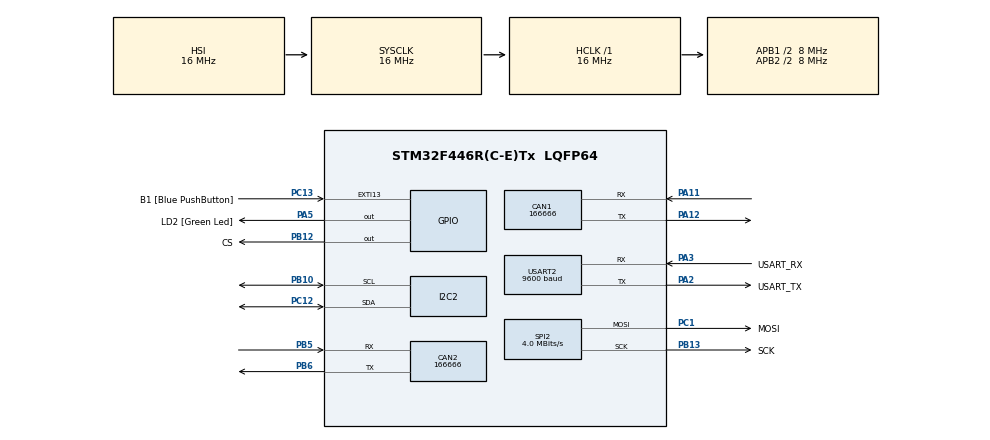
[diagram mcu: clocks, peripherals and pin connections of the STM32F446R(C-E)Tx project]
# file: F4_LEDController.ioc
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CAN1.CalculateBaudRate=166666
CAN1.CalculateTimeBit=6000
CAN1.CalculateTimeQuantum=2000.0
CAN2.CalculateBaudRate=166666
CAN2.CalculateTimeBit=6000
CAN2.CalculateTimeQuantum=2000.0
Dma.Request0=USART2_RX
Dma.USART2_RX.0.Direction=DMA_PERIPH_TO_MEMORY
Dma.USART2_RX.0.FIFOMode=DMA_FIFOMODE_DISABLE
Dma.USART2_RX.0.Instance=DMA1_Stream5
Dma.USART2_RX.0.MemDataAlignment=DMA_MDATAALIGN_BYTE
Dma.USART2_RX.0.MemInc=DMA_MINC_ENABLE
Dma.USART2_RX.0.Mode=DMA_NORMAL
Dma.USART2_RX.0.PeriphDataAlignment=DMA_PDATAALIGN_BYTE
Dma.USART2_RX.0.PeriphInc=DMA_PINC_DISABLE
Dma.USART2_RX.0.Priority=DMA_PRIORITY_LOW
I2C2.I2C_Mode=I2C_Fast
Mcu.Family=STM32F4
Mcu.Name=STM32F446R(C-E)Tx
Mcu.Package=LQFP64
NVIC.DMA1_Stream5_IRQn=true\:0\:0\:false\:false\:true\:false\:true
NVIC.EXTI15_10_IRQn=true\:0\:0\:false\:false\:true\:true\:true
NVIC.PriorityGroup=NVIC_PRIORITYGROUP_4
NVIC.SPI2_IRQn=true\:0\:0\:false\:false\:true\:true\:true
NVIC.USART2_IRQn=true\:0\:0\:false\:false\:true\:true\:true
PA11.Mode=CAN_Activate
PA11.Signal=CAN1_RX
PA12.Mode=CAN_Activate
PA12.Signal=CAN1_TX
PA13.GPIO_Label=TMS
PA13.Mode=JTAG_4_pins
PA13.Signal=SYS_JTMS-SWDIO
PA14.GPIO_Label=TCK
PA14.Mode=JTAG_4_pins
PA14.Signal=SYS_JTCK-SWCLK
PA15.Mode=JTAG_4_pins
PA15.Signal=SYS_JTDI
PA2.GPIO_Label=USART_TX
PA2.Mode=Asynchronous
PA2.Signal=USART2_TX
PA3.GPIO_Label=USART_RX
PA3.Mode=Asynchronous
PA3.Signal=USART2_RX
PA5.GPIO_Label=LD2 [Green Led]
PA5.GPIO_Speed=GPIO_SPEED_FREQ_MEDIUM
PA5.Signal=GPIO_Output
PB10.Mode=I2C
PB10.Signal=I2C2_SCL
PB12.GPIO_Label=CS
PB12.GPIO_Speed=GPIO_SPEED_FREQ_VERY_HIGH
PB12.PinState=GPIO_PIN_SET
PB12.Signal=GPIO_Output
PB13.GPIO_Label=SCK
PB13.GPIO_PuPd=GPIO_NOPULL
PB13.Mode=TX_Only_Simplex_Unidirect_Master
PB13.Signal=SPI2_SCK
PB3.GPIO_Label=SWO
PB3.Mode=JTAG_4_pins
PB3.Signal=SYS_JTDO-SWO
PB5.Mode=CAN_Activate
PB5.Signal=CAN2_RX
PB6.Mode=CAN_Activate
PB6.Signal=CAN2_TX
PC1.GPIO_Label=MOSI
PC1.GPIO_PuPd=GPIO_NOPULL
PC1.Mode=TX_Only_Simplex_Unidirect_Master
PC1.Signal=SPI2_MOSI
PC12.Mode=I2C
PC12.Signal=I2C2_SDA
PC13.GPIO_Label=B1 [Blue PushButton]
PC13.GPIO_ModeDefaultEXTI=GPIO_MODE_IT_FALLING
PC13.Signal=GPXTI13
PC14-OSC32_IN.Mode=LSE-External-Oscillator
PC14-OSC32_IN.Signal=RCC_OSC32_IN
PC15-OSC32_OUT.Mode=LSE-External-Oscillator
PC15-OSC32_OUT.Signal=RCC_OSC32_OUT
PH0-OSC_IN.Signal=RCC_OSC_IN
PH1-OSC_OUT.Signal=RCC_OSC_OUT
ProjectManager.HeapSize=0x200
ProjectManager.StackSize=0x400
ProjectManager.TargetToolchain=STM32CubeIDE
RCC.48MHZClocksFreq_Value=84000000
RCC.AHBFreq_Value=16000000
RCC.APB1CLKDivider=RCC_HCLK_DIV2
RCC.APB1Freq_Value=8000000
RCC.APB1TimFreq_Value=16000000
RCC.APB2CLKDivider=RCC_HCLK_DIV2
RCC.APB2Freq_Value=8000000
RCC.APB2TimFreq_Value=16000000
RCC.CortexFreq_Value=16000000
RCC.FLatency-AdvancedSettings=FLASH_LATENCY_0
RCC.HCLKFreq_Value=16000000
RCC.HSE_VALUE=8000000
RCC.HSI_VALUE=16000000
RCC.PLLM=4
RCC.PLLN=64
RCC.SYSCLKFreq_VALUE=16000000
RCC.USBFreq_Value=128000000
RCC.VCOOutputFreq_Value=256000000
SPI2.BaudRatePrescaler=SPI_BAUDRATEPRESCALER_2
SPI2.CLKPolarity=SPI_POLARITY_LOW
SPI2.CRCCalculation=SPI_CRCCALCULATION_DISABLE
SPI2.CalculateBaudRate=4.0 MBits/s
SPI2.Direction=SPI_DIRECTION_2LINES
SPI2.Mode=SPI_MODE_MASTER
SPI2.VirtualType=VM_MASTER
TIM14.AutoReloadPreload=TIM_AUTORELOAD_PRELOAD_DISABLE
TIM14.Period=65535-1
TIM14.Prescaler=1600-1
USART2.BaudRate=9600
USART2.VirtualMode=VM_ASYNC
VP_TIM14_VS_ClockSourceINT.Mode=Enable_Timer
board=NUCLEO-F446RE

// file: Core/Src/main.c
/* USER CODE BEGIN Header */
/**
 ******************************************************************************
 * @file           : main.c
 * @brief          : Main program body
 ******************************************************************************
 * @attention
 *
 * Copyright (c) 2022 STMicroelectronics.
 * All rights reserved.
 *
 * This software is licensed under terms that can be found in the LICENSE file
 * in the root directory of this software component.
 * If no LICENSE file comes with this software, it is provided AS-IS.
 *
 ******************************************************************************
 */
/* USER CODE END Header */
#include "main.h"

/* USER CODE BEGIN Includes */
#include "stdbool.h"
#include "stdio.h"
#include "MyDelay.h"
#include "IS31FL3743B.h"
/* USER CODE END Includes */

CAN_HandleTypeDef hcan1;
CAN_HandleTypeDef hcan2;

I2C_HandleTypeDef hi2c2;

SPI_HandleTypeDef hspi2;

TIM_HandleTypeDef htim14;

UART_HandleTypeDef huart2;
DMA_HandleTypeDef hdma_usart2_rx;

/* USER CODE BEGIN PV */
int *temp, baseADDR = 0;
/* USER CODE END PV */

void SystemClock_Config(void);
static void MX_GPIO_Init(void);
static void MX_USART2_UART_Init(void);
static void MX_DMA_Init(void);
static void MX_TIM14_Init(void);
static void MX_SPI2_Init(void);
static void MX_I2C2_Init(void);
static void MX_CAN1_Init(void);
static void MX_CAN2_Init(void);

int main(void) {

	/* MCU Configuration--------------------------------------------------------*/

	/* Reset of all peripherals, Initializes the Flash interface and the Systick. */
	HAL_Init();

	/* Configure the system clock */
	SystemClock_Config();

	/* Initialize all configured peripherals */
	MX_GPIO_Init();
	MX_USART2_UART_Init();
	MX_DMA_Init();
	MX_TIM14_Init();
	MX_SPI2_Init();
	MX_I2C2_Init();
	MX_CAN1_Init();
	MX_CAN2_Init();
	/* USER CODE BEGIN 2 */

//	void LedBlink(uint8_t count);
//
//	IS31FL3743B_Dumby();
//	IS31FL3743B_Reset();
//	IS31FL3743B_init();

//HAL_UART_Transmit_IT(&huart2, IS31FL3743B_TempStat(), 1);

	/* USER CODE END 2 */

	/* Infinite loop */
	while (1) {

	}
}

void SystemClock_Config(void) {
	RCC_OscInitTypeDef RCC_OscInitStruct = { 0 };
	RCC_ClkInitTypeDef RCC_ClkInitStruct = { 0 };

	/** Configure the main internal regulator output voltage
	 */
	__HAL_RCC_PWR_CLK_ENABLE();
	__HAL_PWR_VOLTAGESCALING_CONFIG(PWR_REGULATOR_VOLTAGE_SCALE3);
	/** Initializes the RCC Oscillators according to the specified parameters
	 * in the RCC_OscInitTypeDef structure.
	 */
	RCC_OscInitStruct.OscillatorType = RCC_OSCILLATORTYPE_HSI;
	RCC_OscInitStruct.HSIState = RCC_HSI_ON;
	RCC_OscInitStruct.HSICalibrationValue = RCC_HSICALIBRATION_DEFAULT;
	RCC_OscInitStruct.PLL.PLLState = RCC_PLL_NONE;
	if (HAL_RCC_OscConfig(&RCC_OscInitStruct) != HAL_OK) {
		Error_Handler();
	}
	/** Initializes the CPU, AHB and APB buses clocks
	 */
	RCC_ClkInitStruct.ClockType = RCC_CLOCKTYPE_HCLK | RCC_CLOCKTYPE_SYSCLK
			| RCC_CLOCKTYPE_PCLK1 | RCC_CLOCKTYPE_PCLK2;
	RCC_ClkInitStruct.SYSCLKSource = RCC_SYSCLKSOURCE_HSI;
	RCC_ClkInitStruct.AHBCLKDivider = RCC_SYSCLK_DIV1;
	RCC_ClkInitStruct.APB1CLKDivider = RCC_HCLK_DIV2;
	RCC_ClkInitStruct.APB2CLKDivider = RCC_HCLK_DIV2;

	if (HAL_RCC_ClockConfig(&RCC_ClkInitStruct, FLASH_LATENCY_0) != HAL_OK) {
		Error_Handler();
	}
}

static void MX_CAN1_Init(void) {

	hcan1.Instance = CAN1;
	hcan1.Init.Prescaler = 16;
	hcan1.Init.Mode = CAN_MODE_NORMAL;
	hcan1.Init.SyncJumpWidth = CAN_SJW_1TQ;
	hcan1.Init.TimeSeg1 = CAN_BS1_1TQ;
	hcan1.Init.TimeSeg2 = CAN_BS2_1TQ;
	hcan1.Init.TimeTriggeredMode = DISABLE;
	hcan1.Init.AutoBusOff = DISABLE;
	hcan1.Init.AutoWakeUp = DISABLE;
	hcan1.Init.AutoRetransmission = DISABLE;
	hcan1.Init.ReceiveFifoLocked = DISABLE;
	hcan1.Init.TransmitFifoPriority = DISABLE;
	if (HAL_CAN_Init(&hcan1) != HAL_OK) {
		Error_Handler();
	}

}

static void MX_CAN2_Init(void) {

	hcan2.Instance = CAN2;
	hcan2.Init.Prescaler = 16;
	hcan2.Init.Mode = CAN_MODE_NORMAL;
	hcan2.Init.SyncJumpWidth = CAN_SJW_1TQ;
	hcan2.Init.TimeSeg1 = CAN_BS1_1TQ;
	hcan2.Init.TimeSeg2 = CAN_BS2_1TQ;
	hcan2.Init.TimeTriggeredMode = DISABLE;
	hcan2.Init.AutoBusOff = DISABLE;
	hcan2.Init.AutoWakeUp = DISABLE;
	hcan2.Init.AutoRetransmission = DISABLE;
	hcan2.Init.ReceiveFifoLocked = DISABLE;
	hcan2.Init.TransmitFifoPriority = DISABLE;
	if (HAL_CAN_Init(&hcan2) != HAL_OK) {
		Error_Handler();
	}

}

static void MX_I2C2_Init(void) {

	hi2c2.Instance = I2C2;
	hi2c2.Init.ClockSpeed = 400000;
	hi2c2.Init.DutyCycle = I2C_DUTYCYCLE_2;
	hi2c2.Init.OwnAddress1 = 0;
	hi2c2.Init.AddressingMode = I2C_ADDRESSINGMODE_7BIT;
	hi2c2.Init.DualAddressMode = I2C_DUALADDRESS_DISABLE;
	hi2c2.Init.OwnAddress2 = 0;
	hi2c2.Init.GeneralCallMode = I2C_GENERALCALL_DISABLE;
	hi2c2.Init.NoStretchMode = I2C_NOSTRETCH_DISABLE;
	if (HAL_I2C_Init(&hi2c2) != HAL_OK) {
		Error_Handler();
	}

}

static void MX_SPI2_Init(void) {

	/* SPI2 parameter configuration*/
	hspi2.Instance = SPI2;
	hspi2.Init.Mode = SPI_MODE_MASTER;
	hspi2.Init.Direction = SPI_DIRECTION_2LINES;
	hspi2.Init.DataSize = SPI_DATASIZE_8BIT;
	hspi2.Init.CLKPolarity = SPI_POLARITY_LOW;
	hspi2.Init.CLKPhase = SPI_PHASE_1EDGE;
	hspi2.Init.NSS = SPI_NSS_SOFT;
	hspi2.Init.BaudRatePrescaler = SPI_BAUDRATEPRESCALER_2;
	hspi2.Init.FirstBit = SPI_FIRSTBIT_MSB;
	hspi2.Init.TIMode = SPI_TIMODE_DISABLE;
	hspi2.Init.CRCCalculation = SPI_CRCCALCULATION_DISABLE;
	hspi2.Init.CRCPolynomial = 10;
	if (HAL_SPI_Init(&hspi2) != HAL_OK) {
		Error_Handler();
	}

}

static void MX_TIM14_Init(void) {

	htim14.Instance = TIM14;
	htim14.Init.Prescaler = 1600 - 1;
	htim14.Init.CounterMode = TIM_COUNTERMODE_UP;
	htim14.Init.Period = 65535 - 1;
	htim14.Init.ClockDivision = TIM_CLOCKDIVISION_DIV1;
	htim14.Init.AutoReloadPreload = TIM_AUTORELOAD_PRELOAD_DISABLE;
	if (HAL_TIM_Base_Init(&htim14) != HAL_OK) {
		Error_Handler();
	}
	/* USER CODE BEGIN TIM14_Init 2 */
	HAL_TIM_Base_Start(&htim14);
	/* USER CODE END TIM14_Init 2 */

}

static void MX_USART2_UART_Init(void) {

	huart2.Instance = USART2;
	huart2.Init.BaudRate = 9600;
	huart2.Init.WordLength = UART_WORDLENGTH_8B;
	huart2.Init.StopBits = UART_STOPBITS_1;
	huart2.Init.Parity = UART_PARITY_NONE;
	huart2.Init.Mode = UART_MODE_TX_RX;
	huart2.Init.HwFlowCtl = UART_HWCONTROL_NONE;
	huart2.Init.OverSampling = UART_OVERSAMPLING_16;
	if (HAL_UART_Init(&huart2) != HAL_OK) {
		Error_Handler();
	}

}

static void MX_DMA_Init(void) {

	/* DMA controller clock enable */
	__HAL_RCC_DMA1_CLK_ENABLE();

	/* DMA interrupt init */
	/* DMA1_Stream5_IRQn interrupt configuration */
	HAL_NVIC_SetPriority(DMA1_Stream5_IRQn, 0, 0);
	HAL_NVIC_EnableIRQ(DMA1_Stream5_IRQn);

}

static void MX_GPIO_Init(void) {
	GPIO_InitTypeDef GPIO_InitStruct = { 0 };

	/* GPIO Ports Clock Enable */
	__HAL_RCC_GPIOC_CLK_ENABLE();
	__HAL_RCC_GPIOH_CLK_ENABLE();
	__HAL_RCC_GPIOA_CLK_ENABLE();
	__HAL_RCC_GPIOB_CLK_ENABLE();

	/*Configure GPIO pin Output Level */
	HAL_GPIO_WritePin(LD2_GPIO_Port, LD2_Pin, GPIO_PIN_RESET);

	/*Configure GPIO pin Output Level */
	HAL_GPIO_WritePin(CS_GPIO_Port, CS_Pin, GPIO_PIN_SET);

	/*Configure GPIO pin : B1_Pin */
	GPIO_InitStruct.Pin = B1_Pin;
	GPIO_InitStruct.Mode = GPIO_MODE_IT_FALLING;
	GPIO_InitStruct.Pull = GPIO_NOPULL;
	HAL_GPIO_Init(B1_GPIO_Port, &GPIO_InitStruct);

	/*Configure GPIO pin : LD2_Pin */
	GPIO_InitStruct.Pin = LD2_Pin;
	GPIO_InitStruct.Mode = GPIO_MODE_OUTPUT_PP;
	GPIO_InitStruct.Pull = GPIO_NOPULL;
	GPIO_InitStruct.Speed = GPIO_SPEED_FREQ_MEDIUM;
	HAL_GPIO_Init(LD2_GPIO_Port, &GPIO_InitStruct);

	/*Configure GPIO pin : CS_Pin */
	GPIO_InitStruct.Pin = CS_Pin;
	GPIO_InitStruct.Mode = GPIO_MODE_OUTPUT_PP;
	GPIO_InitStruct.Pull = GPIO_NOPULL;
	GPIO_InitStruct.Speed = GPIO_SPEED_FREQ_VERY_HIGH;
	HAL_GPIO_Init(CS_GPIO_Port, &GPIO_InitStruct);

	/* EXTI interrupt init*/
	HAL_NVIC_SetPriority(EXTI15_10_IRQn, 0, 0);
	HAL_NVIC_EnableIRQ(EXTI15_10_IRQn);

}

/* USER CODE BEGIN 4 */
void LedBlink(uint8_t count) {
	for (uint8_t cnt; cnt < count; cnt++) {
		HAL_GPIO_WritePin(LD2_GPIO_Port, LD2_Pin, 1);
		MyDelay_ms(200);
		HAL_GPIO_WritePin(LD2_GPIO_Port, LD2_Pin, 0);

	}
}
;

void IS31FL3743B_init(void) {
	IS31FL3743B_Reset();

	/*Set config register
	 *
	 * On this board, we are using SW1-8 , SW9-11 are inactive, so we're using
	 *
	 * No open short detection necessary, and normal operation
	 * -----------------------
	 * | SWS | - | OSDE | SSD|
	 * | 0011| 1 |  00  | 1  |
	 * -----------------------
	 *or 0x39
	 *
	 *
	 * */
	HAL_GPIO_WritePin(CS_GPIO_Port, CS_Pin, 0); //Pull chip select low
	uint8_t spiDataRx[3] = { Page2_ADDR, Config_ADDR, ConfigDef };
	HAL_SPI_Receive_IT(&hspi2, spiDataRx, sizeof(spiDataRx));
	HAL_GPIO_WritePin(CS_GPIO_Port, CS_Pin, 1); //Pull chip select low

	HAL_GPIO_WritePin(CS_GPIO_Port, CS_Pin, 0); //Pull chip select low
	uint8_t spiDataRx2[3] = { Page2_ADDR, GCC_ADDR, 0xFE };
	HAL_SPI_Receive_IT(&hspi2, spiDataRx2, sizeof(spiDataRx2));
	HAL_GPIO_WritePin(CS_GPIO_Port, CS_Pin, 1); //Pull chip select low
	MyDelay_ms(500);
	LedBlink(3);
}
;

uint16_t IS31FL3743B_TempStat(void) {
	bool cpltFlag = 0; //complete flag

	HAL_GPIO_WritePin(CS_GPIO_Port, CS_Pin, 0); //Pull chip select low
	uint8_t spiDataRx[3] = { Page2_ADDR_R, TempStat_ADDR, 0x00 };
	HAL_SPI_Receive_IT(&hspi2, spiDataRx, sizeof(spiDataRx));
	HAL_GPIO_WritePin(CS_GPIO_Port, CS_Pin, 1); //Pull chip select low

	MyDelay_ms(500);
	LedBlink(2);
	if (cpltFlag == 1)
		return spiDataRx[3]; //temperature
	else
		return 404; //error
}
;

void IS31FL3743B_SetDotColor(uint8_t led, uint8_t color, uint8_t intensity) {

	if (led >= 1 && led <= 6) {
		baseADDR = printf("%x", (3 * led) - 2); //first led, blue
	}

	if (led > 6 && led <= 12) {
		baseADDR = 0x01; //first led, blue
	}

	if (led > 12 && led <= 18) {
		baseADDR = 0x01; //first led, blue
	}

	if (led > 18 && led <= 24) {
		baseADDR = 0x01; //first led, blue
	}

	if (led > 24 && led <= 30) {
		baseADDR = 0x01; //first led, blue
	}

	if (led > 30 && led <= 36) {
		baseADDR = 0x01; //first led, blue
	}
	if (led > 36 && led <= 42) {
		baseADDR = 0x01; //first led, blue
	}
	if (led > 42 && led <= 48) {
		baseADDR = 0x01; //first led, blue
	}
}
;

void IS31FL3743B_SetFullColor(uint8_t color, uint8_t intensity) {
	switch (color) {
	case Blue:

		break;

	case Green:
		break;

	case Red:
		break;
	}

}
;

void IS31FL3743B_SetColumnColor(uint8_t row, uint8_t color) {

}
;

void IS31FL3743B_Breathe(uint8_t color, int speed) {

}
;

void IS31FL3743B_Reset(void) {
	HAL_GPIO_WritePin(CS_GPIO_Port, CS_Pin, 0);
	uint8_t spiDataTx[3] = { Page2_ADDR, Reset_ADDR, ResetDef };
	HAL_SPI_Transmit_IT(&hspi2, spiDataTx, sizeof(spiDataTx));
	HAL_GPIO_WritePin(CS_GPIO_Port, CS_Pin, 1);

	LedBlink(2);
}
;

void IS31FL3743B_Dumby(void) {
//To prevent a data mismatch, send a dumby request before sending other commands
//HAL_GPIO_WritePin(CS_GPIO_Port, CS_Pin, 0);
	MyDelay_ms(20);
	uint8_t spiDataTx[3] = { 0x00, 0x00, 0x00 };
	HAL_SPI_Transmit_IT(&hspi2, spiDataTx, sizeof(spiDataTx));
//HAL_GPIO_WritePin(CS_GPIO_Port, CS_Pin, 1);
}
;

void HAL_SPI_TxCpltCallback(SPI_HandleTypeDef *hspi) {

	/* NOTE : This function should not be modified, when the callback is needed,
	 the HAL_SPI_TxRxCpltCallback should be implemented in the user file
	 */
}

void HAL_GPIO_EXTI_Callback(uint16_t GPIO_Pin) {
	/* Prevent unused argument(s) compilation warning */
	if (GPIO_Pin == GPIO_PIN_13) {
		MyDelay_ms(1); //prevent bounce
		LedBlink(2);
	}
	/* NOTE: This function Should not be modified, when the callback is needed,
	 the HAL_GPIO_EXTI_Callback could be implemented in the user file
	 */
}
/* USER CODE END 4 */

void Error_Handler(void) {
	__disable_irq();
	while (1) {
	}
}
